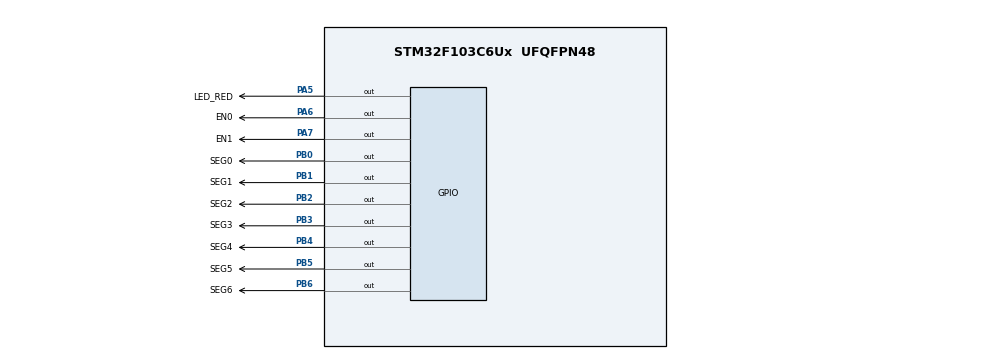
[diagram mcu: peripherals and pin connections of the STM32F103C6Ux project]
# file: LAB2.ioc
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Mcu.Family=STM32F1
Mcu.Name=STM32F103C6Ux
Mcu.Package=UFQFPN48
NVIC.PriorityGroup=NVIC_PRIORITYGROUP_4
NVIC.TIM2_IRQn=true\:0\:0\:false\:false\:true\:true\:true
PA5.GPIO_Label=LED_RED
PA5.Signal=GPIO_Output
PA6.GPIO_Label=EN0
PA6.Signal=GPIO_Output
PA7.GPIO_Label=EN1
PA7.Signal=GPIO_Output
PB0.GPIO_Label=SEG0
PB0.Signal=GPIO_Output
PB1.GPIO_Label=SEG1
PB1.Signal=GPIO_Output
PB2.GPIO_Label=SEG2
PB2.Signal=GPIO_Output
PB3.GPIO_Label=SEG3
PB3.Signal=GPIO_Output
PB4.GPIO_Label=SEG4
PB4.Signal=GPIO_Output
PB5.GPIO_Label=SEG5
PB5.Signal=GPIO_Output
PB6.GPIO_Label=SEG6
PB6.Signal=GPIO_Output
ProjectManager.HeapSize=0x200
ProjectManager.StackSize=0x400
ProjectManager.TargetToolchain=STM32CubeIDE
RCC.APB1Freq_Value=8000000
RCC.APB2Freq_Value=8000000
TIM2.Period=9
TIM2.Prescaler=7999
VP_SYS_VS_ND.Mode=No_Debug
VP_TIM2_VS_ClockSourceINT.Mode=Internal
board=custom

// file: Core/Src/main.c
/* USER CODE BEGIN Header */
/**
  ******************************************************************************
  * @file           : main.c
  * @brief          : Main program body
  ******************************************************************************
  * @attention
  *
  * <h2><center>&copy; Copyright (c) 2024 STMicroelectronics.
  * All rights reserved.</center></h2>
  *
  * This software component is licensed by ST under BSD 3-Clause license,
  * the "License"; You may not use this file except in compliance with the
  * License. You may obtain a copy of the License at:
  *                        opensource.org/licenses/BSD-3-Clause
  *
  ******************************************************************************
  */
/* USER CODE END Header */
#include "main.h"

/* USER CODE BEGIN Includes */
#include "Ex1.h"
/* USER CODE END Includes */

TIM_HandleTypeDef htim2;

void SystemClock_Config(void);
static void MX_GPIO_Init(void);
static void MX_TIM2_Init(void);

int main(void)
{

  /* MCU Configuration--------------------------------------------------------*/

  /* Reset of all peripherals, Initializes the Flash interface and the Systick. */
  HAL_Init();

  /* Configure the system clock */
  SystemClock_Config();

  /* Initialize all configured peripherals */
  MX_GPIO_Init();
  MX_TIM2_Init();
  /* USER CODE BEGIN 2 */
  HAL_TIM_Base_Start_IT (& htim2 ) ;
  /* USER CODE END 2 */

  /* Infinite loop */
  while (1)
  {

    /* USER CODE BEGIN 3 */
	  HAL_Delay(10);
  }
  /* USER CODE END 3 */
}

void SystemClock_Config(void)
{
  RCC_OscInitTypeDef RCC_OscInitStruct = {0};
  RCC_ClkInitTypeDef RCC_ClkInitStruct = {0};

  /** Initializes the RCC Oscillators according to the specified parameters
  * in the RCC_OscInitTypeDef structure.
  */
  RCC_OscInitStruct.OscillatorType = RCC_OSCILLATORTYPE_HSI;
  RCC_OscInitStruct.HSIState = RCC_HSI_ON;
  RCC_OscInitStruct.HSICalibrationValue = RCC_HSICALIBRATION_DEFAULT;
  RCC_OscInitStruct.PLL.PLLState = RCC_PLL_NONE;
  if (HAL_RCC_OscConfig(&RCC_OscInitStruct) != HAL_OK)
  {
    Error_Handler();
  }
  /** Initializes the CPU, AHB and APB buses clocks
  */
  RCC_ClkInitStruct.ClockType = RCC_CLOCKTYPE_HCLK|RCC_CLOCKTYPE_SYSCLK
                              |RCC_CLOCKTYPE_PCLK1|RCC_CLOCKTYPE_PCLK2;
  RCC_ClkInitStruct.SYSCLKSource = RCC_SYSCLKSOURCE_HSI;
  RCC_ClkInitStruct.AHBCLKDivider = RCC_SYSCLK_DIV1;
  RCC_ClkInitStruct.APB1CLKDivider = RCC_HCLK_DIV1;
  RCC_ClkInitStruct.APB2CLKDivider = RCC_HCLK_DIV1;

  if (HAL_RCC_ClockConfig(&RCC_ClkInitStruct, FLASH_LATENCY_0) != HAL_OK)
  {
    Error_Handler();
  }
}

static void MX_TIM2_Init(void)
{

  TIM_ClockConfigTypeDef sClockSourceConfig = {0};
  TIM_MasterConfigTypeDef sMasterConfig = {0};

  htim2.Instance = TIM2;
  htim2.Init.Prescaler = 7999;
  htim2.Init.CounterMode = TIM_COUNTERMODE_UP;
  htim2.Init.Period = 9;
  htim2.Init.ClockDivision = TIM_CLOCKDIVISION_DIV1;
  htim2.Init.AutoReloadPreload = TIM_AUTORELOAD_PRELOAD_DISABLE;
  if (HAL_TIM_Base_Init(&htim2) != HAL_OK)
  {
    Error_Handler();
  }
  sClockSourceConfig.ClockSource = TIM_CLOCKSOURCE_INTERNAL;
  if (HAL_TIM_ConfigClockSource(&htim2, &sClockSourceConfig) != HAL_OK)
  {
    Error_Handler();
  }
  sMasterConfig.MasterOutputTrigger = TIM_TRGO_RESET;
  sMasterConfig.MasterSlaveMode = TIM_MASTERSLAVEMODE_DISABLE;
  if (HAL_TIMEx_MasterConfigSynchronization(&htim2, &sMasterConfig) != HAL_OK)
  {
    Error_Handler();
  }

}

static void MX_GPIO_Init(void)
{
  GPIO_InitTypeDef GPIO_InitStruct = {0};

  /* GPIO Ports Clock Enable */
  __HAL_RCC_GPIOA_CLK_ENABLE();
  __HAL_RCC_GPIOB_CLK_ENABLE();

  /*Configure GPIO pin Output Level */
  HAL_GPIO_WritePin(GPIOA, LED_RED_Pin|EN0_Pin|EN1_Pin, GPIO_PIN_RESET);

  /*Configure GPIO pin Output Level */
  HAL_GPIO_WritePin(GPIOB, SEG0_Pin|SEG1_Pin|SEG2_Pin|SEG3_Pin
                          |SEG4_Pin|SEG5_Pin|SEG6_Pin, GPIO_PIN_RESET);

  /*Configure GPIO pins : LED_RED_Pin EN0_Pin EN1_Pin */
  GPIO_InitStruct.Pin = LED_RED_Pin|EN0_Pin|EN1_Pin;
  GPIO_InitStruct.Mode = GPIO_MODE_OUTPUT_PP;
  GPIO_InitStruct.Pull = GPIO_NOPULL;
  GPIO_InitStruct.Speed = GPIO_SPEED_FREQ_LOW;
  HAL_GPIO_Init(GPIOA, &GPIO_InitStruct);

  /*Configure GPIO pins : SEG0_Pin SEG1_Pin SEG2_Pin SEG3_Pin
                           SEG4_Pin SEG5_Pin SEG6_Pin */
  GPIO_InitStruct.Pin = SEG0_Pin|SEG1_Pin|SEG2_Pin|SEG3_Pin
                          |SEG4_Pin|SEG5_Pin|SEG6_Pin;
  GPIO_InitStruct.Mode = GPIO_MODE_OUTPUT_PP;
  GPIO_InitStruct.Pull = GPIO_NOPULL;
  GPIO_InitStruct.Speed = GPIO_SPEED_FREQ_LOW;
  HAL_GPIO_Init(GPIOB, &GPIO_InitStruct);

}

/* USER CODE BEGIN 4 */
int counter = 50;
int counter_led = 100;
int status = 0;
void HAL_TIM_PeriodElapsedCallback ( TIM_HandleTypeDef * htim ){
	counter_led--;
	if (counter_led <= 0){
		counter_led = 100;
		HAL_GPIO_TogglePin(LED_RED_GPIO_Port, LED_RED_Pin);
	}
	counter--;
	if (counter <= 0){
		counter = 50;
		switch(status){
		case 0:
			HAL_GPIO_WritePin(EN0_GPIO_Port, EN0_Pin, RESET);
			HAL_GPIO_WritePin(EN1_GPIO_Port, EN1_Pin, SET);
			display7SEG(1);
			status = 1;
			break;
		case 1:
			HAL_GPIO_WritePin(EN0_GPIO_Port, EN0_Pin, SET);
			HAL_GPIO_WritePin(EN1_GPIO_Port, EN1_Pin, RESET);
			display7SEG(2);
			status = 0;
			break;
		default:
			HAL_GPIO_WritePin(EN0_GPIO_Port, EN0_Pin, RESET);
			HAL_GPIO_WritePin(EN1_GPIO_Port, EN1_Pin, RESET);
			break;
		}
	}
}
/* USER CODE END 4 */

void Error_Handler(void)
{
  __disable_irq();
  while (1)
  {
  }
}

/************************ (C) COPYRIGHT STMicroelectronics *****END OF FILE****/
